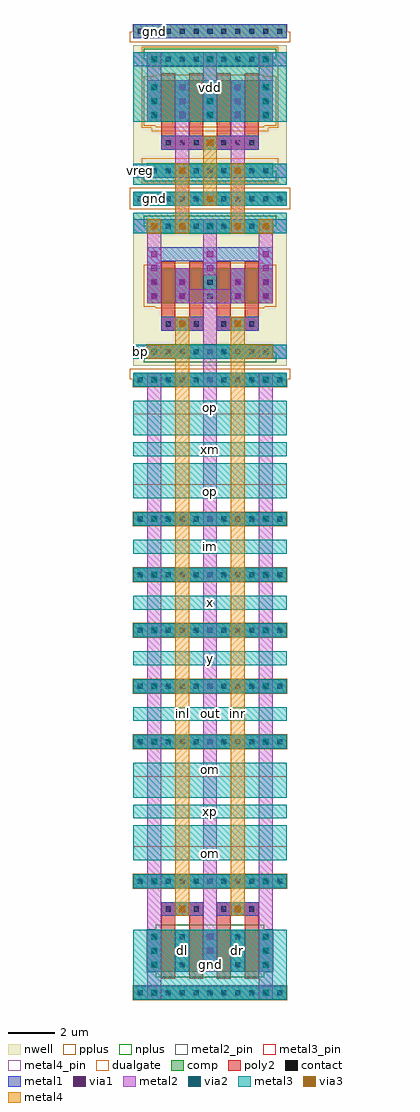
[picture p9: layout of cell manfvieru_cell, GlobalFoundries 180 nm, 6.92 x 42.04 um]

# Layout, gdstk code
import gdstk
lib = gdstk.Library(unit=1e-6, precision=1e-09)
def R(c, l, rs):  # rectangles x0, y0, x1, y1
    for r in rs: c.add(gdstk.rectangle(r[:2], r[2:], *l))
def A(c, l, x, y, w, h, nx, ny, dx, dy):  # array of equal rectangles
    R(c, l, [(x+i*dx, y+j*dy, x+i*dx+w, y+j*dy+h) for i in range(nx) for j in range(ny)])
nwell = (21, 0)
comp = (22, 0)
poly2 = (30, 0)
pplus = (31, 0)
nplus = (32, 0)
contact = (33, 0)
metal1 = (34, 0)
via1 = (35, 0)
metal2 = (36, 0)
metal2_pin = (36, 10)
via2 = (38, 0)
via3 = (40, 0)
metal3 = (42, 0)
metal3_pin = (42, 10)
metal4 = (46, 0)
metal4_pin = (46, 10)
dualgate = (55, 0)

manfvieru_cell = lib.new_cell('manfvieru_cell')
R(manfvieru_cell, nwell, [(-36,20.7,-29.4,27.3), (-36,28.5,-29.4,34.5)])
A(manfvieru_cell, comp, -36, 4.2, 6.6, 0.6, 1, 5, 0, 2.4)
R(manfvieru_cell, comp, [(-36,-6.6,-29.4,-6), (-35.4,-5.4,-30,-3.6), (-36,-1.8,-29.4,-1.2), (-36,19.8,-29.4,20.4), (-35.4,21,-30,21.6), (-35.4,23.4,-30,24.9), (-35.4,26.4,-30,27), (-36,27.6,-29.4,28.2), (-35.4,28.8,-30,29.4), (-35.4,31.2,-30,33), (-35.4,33.6,-30,34.2), (-36,34.8,-29.4,35.4)])
A(manfvieru_cell, poly2, -34.8, -5.7, 0.6, 2.7, 4, 2, 1.2, 36.3)
A(manfvieru_cell, poly2, -34.8, 22.8, 0.6, 2.4, 4, 1, 1.2, 0)
R(manfvieru_cell, poly2, [(-34.8,-3,-33,-2.4), (-32.4,-3,-30.6,-2.4), (-34.8,22.2,-33,22.8), (-32.4,22.2,-30.6,22.8), (-34.8,30,-30.6,30.6)])
A(manfvieru_cell, pplus, -36.02, 4.18, 6.64, 0.64, 1, 5, 0, 2.4)
R(manfvieru_cell, pplus, [(-36.02,-6.62,-29.38,-5.98), (-36.02,-1.82,-29.38,-1.18), (-36.02,19.78,-29.38,20.11), (-36.16,20.11,-29.24,20.56), (-35.03,23.17,-30.37,23.24), (-35.56,23.24,-29.84,25.06), (-35.03,25.06,-30.37,25.13), (-36.16,27.44,-29.24,28.36), (-35.03,30.97,-30.37,31.04), (-35.56,31.04,-29.84,33.16), (-35.03,33.16,-30.37,33.23), (-36.16,34.64,-29.24,35.09), (-36.02,35.09,-29.38,35.42)])
R(manfvieru_cell, nplus, [(-35.03,-5.63,-30.37,-5.42), (-35.42,-5.42,-29.98,-3.58), (-35.03,-3.58,-30.37,-3.37), (-35.56,20.84,-29.84,21.29), (-35.42,21.29,-29.98,21.62), (-35.42,26.38,-29.98,26.71), (-35.56,26.71,-29.84,27.16), (-35.56,28.64,-29.84,29.09), (-35.42,29.09,-29.98,29.42), (-35.42,33.58,-29.98,33.91), (-35.56,33.91,-29.84,34.36)])
A(manfvieru_cell, contact, -35.81, -6.41, 0.22, 0.22, 11, 2, 0.6, 4.8)
A(manfvieru_cell, contact, -35.21, -5.21, 0.22, 0.22, 5, 3, 1.2, 0.6)
A(manfvieru_cell, contact, -34.61, -2.81, 0.22, 0.22, 3, 2, 0.6, 25.2)
A(manfvieru_cell, contact, -32.21, -2.81, 0.22, 0.22, 3, 2, 0.6, 25.2)
A(manfvieru_cell, contact, -35.81, 4.39, 0.22, 0.22, 11, 5, 0.6, 2.4)
A(manfvieru_cell, contact, -35.81, 19.99, 0.22, 0.22, 11, 2, 0.6, 7.8)
A(manfvieru_cell, contact, -35.21, 21.19, 0.22, 0.22, 9, 2, 0.6, 5.4)
A(manfvieru_cell, contact, -35.21, 23.59, 0.22, 0.22, 5, 2, 1.2, 0.6)
A(manfvieru_cell, contact, -35.21, 28.99, 0.22, 0.22, 9, 2, 0.6, 4.8)
A(manfvieru_cell, contact, -34.61, 30.19, 0.22, 0.22, 7, 1, 0.6, 0)
A(manfvieru_cell, contact, -35.21, 31.39, 0.22, 0.22, 5, 3, 1.2, 0.6)
A(manfvieru_cell, contact, -35.81, 34.99, 0.22, 0.22, 11, 1, 0.6, 0)
A(manfvieru_cell, metal1, -35.4, -5.4, 0.6, 1.8, 5, 2, 1.2, 36.6)
A(manfvieru_cell, metal1, -36, 4.2, 6.6, 0.6, 1, 5, 0, 2.4)
A(manfvieru_cell, metal1, -35.4, 23.4, 0.6, 1.8, 3, 1, 2.4, 0)
A(manfvieru_cell, metal1, -36, 26.4, 6.6, 0.6, 1, 3, 0, 1.2)
R(manfvieru_cell, metal1, [(-36,-6.6,-29.4,-6), (-34.8,-3,-33,-2.4), (-32.4,-3,-30.6,-2.4), (-36,-1.8,-29.4,-1.2), (-36,19.8,-29.4,20.4), (-36,21,-29.4,21.6), (-34.8,22.2,-33,22.8), (-32.4,22.2,-30.6,22.8), (-34.2,23.4,-33.6,24.9), (-31.8,23.4,-31.2,24.9), (-35.4,25.2,-30,25.8), (-34.8,30,-30.6,30.6), (-36,33.6,-29.4,34.2), (-36,34.8,-29.4,35.4)])
A(manfvieru_cell, via1, -35.23, -5.23, 0.26, 0.26, 3, 3, 2.4, 0.6)
A(manfvieru_cell, via1, -35.23, 4.37, 0.26, 0.26, 1, 5, 0, 2.4)
A(manfvieru_cell, via1, -30.43, 4.37, 0.26, 0.26, 1, 5, 0, 2.4)
A(manfvieru_cell, via1, -35.23, 24.77, 0.26, 0.26, 3, 2, 2.4, 0.6)
A(manfvieru_cell, via1, -35.23, 31.37, 0.26, 0.26, 5, 3, 1.2, 0.6)
A(manfvieru_cell, via1, -35.23, 33.77, 0.26, 0.26, 3, 1, 2.4, 0)
R(manfvieru_cell, via1, [(-35.23,-6.43,-34.97,-6.17), (-30.43,-6.43,-30.17,-6.17), (-34.03,-2.83,-33.77,-2.57), (-31.63,-2.83,-31.37,-2.57), (-35.23,-1.63,-34.97,-1.37), (-30.43,-1.63,-30.17,-1.37), (-35.23,19.97,-34.97,20.23), (-30.43,19.97,-30.17,20.23), (-35.23,21.17,-34.97,21.43), (-30.43,21.17,-30.17,21.43), (-34.03,22.37,-33.77,22.63), (-31.63,22.37,-31.37,22.63), (-35.23,23.57,-34.97,23.83), (-34.03,23.57,-33.77,23.83), (-31.63,23.57,-31.37,23.83), (-30.43,23.57,-30.17,23.83), (-35.23,24.17,-34.97,24.43), (-34.03,24.17,-33.77,24.43), (-31.63,24.17,-31.37,24.43), (-30.43,24.17,-30.17,24.43), (-32.83,30.17,-32.57,30.43)])
A(manfvieru_cell, metal2, -35.4, 31.2, 0.6, 3, 3, 1, 2.4, 0)
R(manfvieru_cell, metal2, [(-35.4,-6.6,-34.8,20.4), (-30.6,-6.6,-30,20.4), (-33,-5.4,-32.4,23.4), (-34.2,-3,-33.6,-2.4), (-31.8,-3,-31.2,-2.4), (-35.4,21,-34.8,21.6), (-30.6,21,-30,21.6), (-34.2,22.2,-33.6,22.8), (-31.8,22.2,-31.2,22.8), (-35.4,23.4,-34.8,27), (-34.2,23.4,-31.2,24), (-30.6,23.4,-30,27), (-34.2,24,-33.6,24.9), (-31.8,24,-31.2,24.9), (-33,24.6,-32.4,27), (-34.2,26.4,-33.6,33), (-31.8,26.4,-31.2,33), (-33,30,-32.4,30.6)])
R(manfvieru_cell, metal2_pin, [(-33,-0.6,-32.4,12)])
A(manfvieru_cell, via2, -35.23, -5.23, 0.26, 0.26, 1, 3, 0, 0.6)
A(manfvieru_cell, via2, -30.43, -5.23, 0.26, 0.26, 1, 3, 0, 0.6)
A(manfvieru_cell, via2, -35.23, 4.37, 0.26, 0.26, 1, 5, 0, 2.4)
A(manfvieru_cell, via2, -30.43, 4.37, 0.26, 0.26, 1, 5, 0, 2.4)
A(manfvieru_cell, via2, -35.23, 26.57, 0.26, 0.26, 5, 1, 1.2, 0)
A(manfvieru_cell, via2, -35.23, 31.37, 0.26, 0.26, 3, 3, 2.4, 0.6)
A(manfvieru_cell, via2, -35.23, 33.77, 0.26, 0.26, 3, 1, 2.4, 0)
R(manfvieru_cell, via2, [(-35.23,-6.43,-34.97,-6.17), (-30.43,-6.43,-30.17,-6.17), (-34.03,-2.83,-33.77,-2.57), (-31.63,-2.83,-31.37,-2.57), (-35.23,-1.63,-34.97,-1.37), (-30.43,-1.63,-30.17,-1.37), (-35.23,19.97,-34.97,20.23), (-30.43,19.97,-30.17,20.23), (-35.23,21.17,-34.97,21.43), (-30.43,21.17,-30.17,21.43), (-34.03,22.37,-33.77,22.63), (-31.63,22.37,-31.37,22.63), (-34.03,28.97,-33.77,29.23), (-31.63,28.97,-31.37,29.23), (-32.83,30.17,-32.57,30.43)])
R(manfvieru_cell, via3, [(-34.03,-2.83,-33.77,-2.57), (-31.63,-2.83,-31.37,-2.57), (-34.03,22.37,-33.77,22.63), (-31.63,22.37,-31.37,22.63), (-35.23,26.57,-34.97,26.83), (-34.03,26.57,-33.77,26.83), (-31.63,26.57,-31.37,26.83), (-30.43,26.57,-30.17,26.83), (-32.83,27.77,-32.57,28.03), (-34.03,28.97,-33.77,29.23), (-31.63,28.97,-31.37,29.23), (-32.83,30.17,-32.57,30.43)])
A(manfvieru_cell, metal3, -36, -1.8, 6.6, 0.6, 1, 3, 0, 3)
A(manfvieru_cell, metal3, -36, 5.4, 6.6, 0.6, 1, 8, 0, 1.2)
R(manfvieru_cell, metal3, [(-36,-6.6,-29.4,-3.6), (-34.2,-3,-33.6,-2.4), (-31.8,-3,-31.2,-2.4), (-36,-0.6,-29.4,0.9), (-36,2.1,-29.4,3.6), (-36,15,-29.4,16.5), (-36,16.8,-29.4,17.4), (-36,17.7,-29.4,19.2), (-36,19.8,-29.4,20.4), (-36,21,-29.4,21.6), (-34.2,22.2,-33.6,22.8), (-31.8,22.2,-31.2,22.8), (-36,26.4,-29.4,27.3), (-36,27.6,-29.4,28.2), (-36,28.5,-29.4,29.4), (-33,30,-32.4,30.6), (-36,31.2,-29.4,34.2)])
A(manfvieru_cell, metal3_pin, -36, -0.6, 6.6, 0.6, 1, 3, 0, 1.8)
A(manfvieru_cell, metal3_pin, -36, 5.4, 6.6, 0.6, 1, 5, 0, 2.4)
R(manfvieru_cell, metal3_pin, [(-36,-6.6,-29.4,-3.6), (-36,16.8,-29.4,17.4), (-36,18.6,-29.4,19.2), (-36,21,-35.4,21.6), (-36,27.6,-35.4,28.2), (-36,28.8,-35.4,29.4), (-36,31.2,-29.4,34.2)])
R(manfvieru_cell, metal4, [(-34.2,-3,-33.6,21), (-31.8,-3,-31.2,21), (-35.4,21,-33.6,21.6), (-31.8,21,-30,21.6), (-34.2,21.6,-33.6,22.8), (-31.8,21.6,-31.2,22.8), (-35.4,26.4,-34.8,27), (-34.2,26.4,-33.6,29.4), (-31.8,26.4,-31.2,29.4), (-30.6,26.4,-30,27), (-33,27.6,-32.4,30.6)])
R(manfvieru_cell, metal4_pin, [(-34.2,-0.6,-33.6,12), (-31.8,-0.6,-31.2,12)])
R(manfvieru_cell, dualgate, [(-35.64,28.56,-29.76,29.64), (-35.2,30.8,-30.2,30.96), (-35.64,30.96,-29.76,34.44)])
manfvieru_cell.add(gdstk.Label('dl', (-33.9,-4.5), layer=34, texttype=0))
manfvieru_cell.add(gdstk.Label('dr', (-31.5,-4.5), layer=34, texttype=0))
manfvieru_cell.add(gdstk.Label('gnd', (-35.1,27.9), layer=34, texttype=0))
manfvieru_cell.add(gdstk.Label('gnd', (-35.1,35.1), layer=34, texttype=0))
manfvieru_cell.add(gdstk.Label('inl', (-33.9,5.7), layer=46, texttype=10))
manfvieru_cell.add(gdstk.Label('inr', (-31.5,5.7), layer=46, texttype=10))
manfvieru_cell.add(gdstk.Label('out', (-32.7,5.7), layer=36, texttype=10))
manfvieru_cell.add(gdstk.Label('vdd', (-32.7,32.7), layer=42, texttype=10))
manfvieru_cell.add(gdstk.Label('gp', (-35.7,27.9), layer=42, texttype=10))
manfvieru_cell.add(gdstk.Label('bp', (-35.7,21.3), layer=42, texttype=10))
manfvieru_cell.add(gdstk.Label('vreg', (-35.7,29.1), layer=42, texttype=10))
manfvieru_cell.add(gdstk.Label('op', (-32.7,18.9), layer=42, texttype=10))
manfvieru_cell.add(gdstk.Label('op', (-32.7,15.3), layer=42, texttype=10))
manfvieru_cell.add(gdstk.Label('xm', (-32.7,17.1), layer=42, texttype=10))
manfvieru_cell.add(gdstk.Label('im', (-32.7,12.9), layer=42, texttype=10))
manfvieru_cell.add(gdstk.Label('ip', (-32.7,5.7), layer=42, texttype=10))
manfvieru_cell.add(gdstk.Label('xp', (-32.7,1.5), layer=42, texttype=10))
manfvieru_cell.add(gdstk.Label('gnd', (-32.7,-5.1), layer=42, texttype=10))
manfvieru_cell.add(gdstk.Label('om', (-32.7,-0.3), layer=42, texttype=10))
manfvieru_cell.add(gdstk.Label('om', (-32.7,3.3), layer=42, texttype=10))
manfvieru_cell.add(gdstk.Label('x', (-32.7,10.5), layer=42, texttype=10))
manfvieru_cell.add(gdstk.Label('y', (-32.7,8.1), layer=42, texttype=10))

lib.write_gds('manfvieru_cell.gds')
